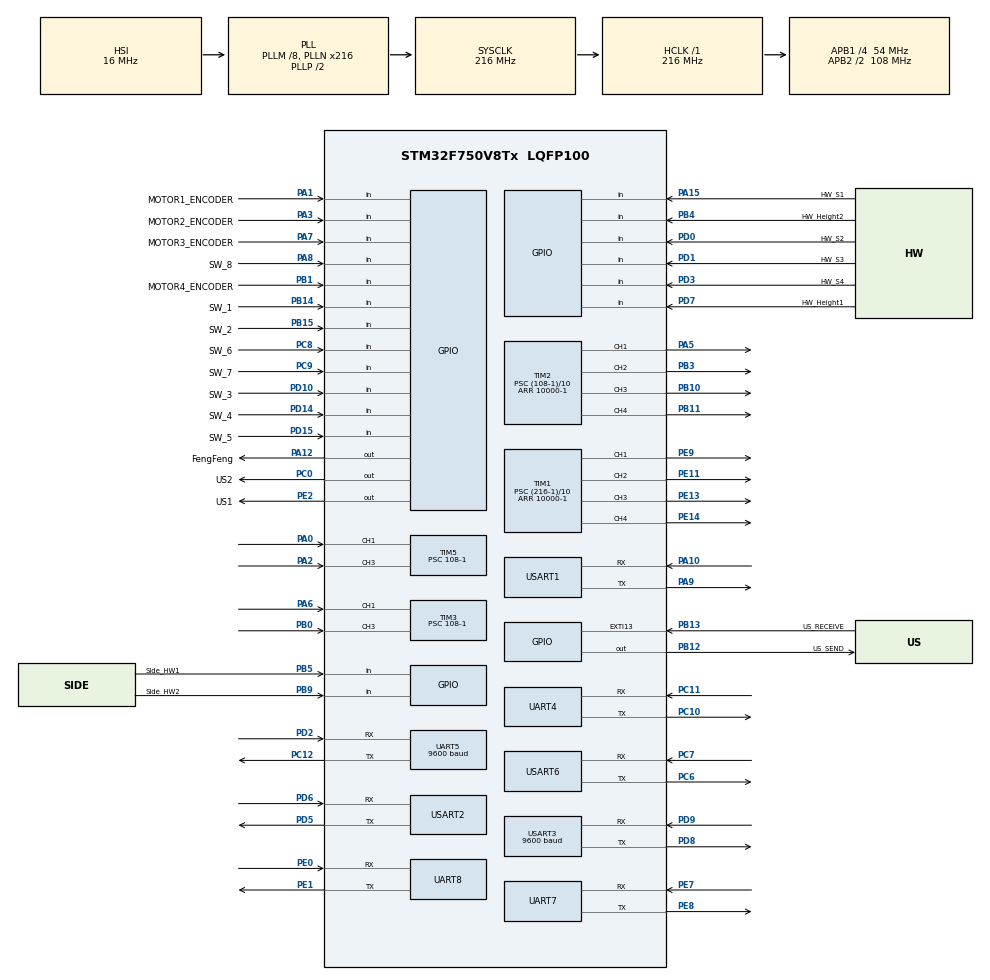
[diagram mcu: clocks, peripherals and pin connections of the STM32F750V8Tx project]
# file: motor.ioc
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FREERTOS.INCLUDE_vTaskDelayUntil=1
FREERTOS.Tasks01=defaultTask,-3,128,StartDefaultTask,Default,NULL,Dynamic,NULL,NULL;debugtask,0,128,Startdebug,As weak,NULL,Dynamic,NULL,NULL;chassis,3,512,chassis_task,As weak,NULL,Dynamic,NULL,NULL;track_task,2,128,track_scan,As weak,NULL,Dynamic,NULL,NULL;usmart_task,0,256,usmartscan,As weak,NULL,Dynamic,NULL,NULL;Bar_Task,-3,256,BarTextTask,As weak,NULL,Dynamic,NULL,NULL
Mcu.Family=STM32F7
Mcu.Name=STM32F750V8Tx
Mcu.Package=LQFP100
NVIC.EXTI15_10_IRQn=true\:6\:0\:true\:false\:true\:true\:true\:true\:true
NVIC.PriorityGroup=NVIC_PRIORITYGROUP_4
NVIC.TIM1_UP_TIM10_IRQn=true\:5\:0\:true\:false\:true\:false\:false\:true\:true
NVIC.TIM3_IRQn=true\:6\:0\:true\:false\:true\:true\:true\:true\:true
NVIC.TIM5_IRQn=true\:6\:0\:true\:false\:true\:true\:true\:true\:true
NVIC.TIM6_DAC_IRQn=true\:7\:0\:true\:false\:true\:true\:true\:true\:true
NVIC.TIM7_IRQn=true\:15\:0\:false\:false\:true\:false\:false\:true\:true
NVIC.TimeBase=TIM7_IRQn
NVIC.TimeBaseIP=TIM7
NVIC.UART4_IRQn=true\:6\:0\:true\:false\:true\:true\:true\:true\:true
NVIC.UART5_IRQn=true\:6\:0\:true\:false\:true\:true\:true\:true\:true
NVIC.USART1_IRQn=true\:6\:0\:true\:false\:true\:true\:true\:true\:true
NVIC.USART2_IRQn=true\:5\:0\:true\:false\:true\:true\:true\:true\:true
NVIC.USART3_IRQn=true\:5\:0\:true\:false\:true\:true\:true\:true\:true
NVIC.USART6_IRQn=true\:6\:0\:true\:false\:true\:true\:true\:true\:true
PA0/WKUP.Signal=S_TIM5_CH1
PA1.GPIO_Label=MOTOR1_ENCODER
PA1.Signal=GPIO_Input
PA10.Mode=Asynchronous
PA10.Signal=USART1_RX
PA12.GPIO_Label=FengFeng
PA12.GPIO_Speed=GPIO_SPEED_FREQ_MEDIUM
PA12.PinState=GPIO_PIN_RESET
PA12.Signal=GPIO_Output
PA13.Mode=Serial_Wire
PA13.Signal=SYS_JTMS-SWDIO
PA14.Mode=Serial_Wire
PA14.Signal=SYS_JTCK-SWCLK
PA15.GPIO_Label=HW_S1
PA15.GPIO_PuPd=GPIO_PULLUP
PA15.Signal=GPIO_Input
PA2.Signal=S_TIM5_CH3
PA3.GPIO_Label=MOTOR2_ENCODER
PA3.Signal=GPIO_Input
PA5.Signal=S_TIM2_CH1_ETR
PA6.Signal=S_TIM3_CH1
PA7.GPIO_Label=MOTOR3_ENCODER
PA7.Signal=GPIO_Input
PA8.GPIO_Label=SW_8
PA8.GPIO_PuPd=GPIO_PULLUP
PA8.Signal=GPIO_Input
PA9.Mode=Asynchronous
PA9.Signal=USART1_TX
PB0.Signal=S_TIM3_CH3
PB1.GPIO_Label=MOTOR4_ENCODER
PB1.Signal=GPIO_Input
PB10.Signal=S_TIM2_CH3
PB11.Signal=S_TIM2_CH4
PB12.GPIO_Label=US_SEND
PB12.Signal=GPIO_Output
PB13.GPIO_Label=US_RECEIVE
PB13.Signal=GPXTI13
PB14.GPIO_Label=SW_1
PB14.GPIO_PuPd=GPIO_PULLUP
PB14.Signal=GPIO_Input
PB15.GPIO_Label=SW_2
PB15.GPIO_PuPd=GPIO_PULLUP
PB15.Signal=GPIO_Input
PB3.Signal=S_TIM2_CH2
PB4.GPIO_Label=HW_Height2
PB4.GPIO_PuPd=GPIO_PULLUP
PB4.Signal=GPIO_Input
PB5.GPIO_Label=Side_HW1
PB5.GPIO_PuPd=GPIO_PULLUP
PB5.Signal=GPIO_Input
PB9.GPIO_Label=Side_HW2
PB9.GPIO_Mode=GPIO_MODE_INPUT
PB9.GPIO_PuPd=GPIO_PULLUP
PB9.Signal=GPIO_Input
PC0.GPIO_Label=US2
PC0.PinState=GPIO_PIN_SET
PC0.Signal=GPIO_Output
PC10.Mode=Asynchronous
PC10.Signal=UART4_TX
PC11.Mode=Asynchronous
PC11.Signal=UART4_RX
PC12.Mode=Asynchronous
PC12.Signal=UART5_TX
PC6.Mode=Asynchronous
PC6.Signal=USART6_TX
PC7.Mode=Asynchronous
PC7.Signal=USART6_RX
PC8.GPIO_Label=SW_6
PC8.GPIO_PuPd=GPIO_PULLUP
PC8.Signal=GPIO_Input
PC9.GPIO_Label=SW_7
PC9.GPIO_PuPd=GPIO_PULLUP
PC9.Signal=GPIO_Input
PD0.GPIO_Label=HW_S2
PD0.GPIO_PuPd=GPIO_PULLUP
PD0.Signal=GPIO_Input
PD1.GPIO_Label=HW_S3
PD1.GPIO_PuPd=GPIO_PULLUP
PD1.Signal=GPIO_Input
PD10.GPIO_Label=SW_3
PD10.GPIO_PuPd=GPIO_PULLUP
PD10.Signal=GPIO_Input
PD14.GPIO_Label=SW_4
PD14.GPIO_PuPd=GPIO_PULLUP
PD14.Signal=GPIO_Input
PD15.GPIO_Label=SW_5
PD15.GPIO_PuPd=GPIO_PULLUP
PD15.Signal=GPIO_Input
PD2.Mode=Asynchronous
PD2.Signal=UART5_RX
PD3.GPIO_Label=HW_S4
PD3.GPIO_PuPd=GPIO_PULLUP
PD3.Signal=GPIO_Input
PD5.Mode=Asynchronous
PD5.Signal=USART2_TX
PD6.Mode=Asynchronous
PD6.Signal=USART2_RX
PD7.GPIO_Label=HW_Height1
PD7.GPIO_PuPd=GPIO_PULLUP
PD7.Signal=GPIO_Input
PD8.Mode=Asynchronous
PD8.Signal=USART3_TX
PD9.Mode=Asynchronous
PD9.Signal=USART3_RX
PE0.Mode=Asynchronous
PE0.Signal=UART8_RX
PE1.Mode=Asynchronous
PE1.Signal=UART8_TX
PE11.Signal=S_TIM1_CH2
PE13.Signal=S_TIM1_CH3
PE14.Signal=S_TIM1_CH4
PE2.GPIO_Label=US1
PE2.PinState=GPIO_PIN_SET
PE2.Signal=GPIO_Output
PE7.Mode=Asynchronous
PE7.Signal=UART7_RX
PE8.Mode=Asynchronous
PE8.Signal=UART7_TX
PE9.Signal=S_TIM1_CH1
PH0/OSC_IN.Mode=HSE-External-Oscillator
PH0/OSC_IN.Signal=RCC_OSC_IN
PH1/OSC_OUT.Mode=HSE-External-Oscillator
PH1/OSC_OUT.Signal=RCC_OSC_OUT
ProjectManager.HeapSize=0x200
ProjectManager.StackSize=0x400
ProjectManager.TargetToolchain=MDK-ARM V5.32
RCC.AHBFreq_Value=216000000
RCC.APB1CLKDivider=RCC_HCLK_DIV4
RCC.APB1Freq_Value=54000000
RCC.APB1TimFreq_Value=108000000
RCC.APB2CLKDivider=RCC_HCLK_DIV2
RCC.APB2Freq_Value=108000000
RCC.APB2TimFreq_Value=216000000
RCC.CortexFreq_Value=216000000
RCC.HCLKFreq_Value=216000000
RCC.HSE_VALUE=25000000
RCC.HSI_VALUE=16000000
RCC.LSE_VALUE=32768
RCC.PLLM=8
RCC.PLLN=216
RCC.SYSCLKFreq_VALUE=216000000
RCC.SYSCLKSource=RCC_SYSCLKSOURCE_PLLCLK
RCC.USBFreq_Value=216000000
RCC.VCOOutputFreq_Value=432000000
SH.S_TIM1_CH1.0=TIM1_CH1,PWM Generation1 CH1
SH.S_TIM1_CH2.0=TIM1_CH2,PWM Generation2 CH2
SH.S_TIM1_CH3.0=TIM1_CH3,PWM Generation3 CH3
SH.S_TIM1_CH4.0=TIM1_CH4,PWM Generation4 CH4
SH.S_TIM2_CH1_ETR.0=TIM2_CH1,PWM Generation1 CH1
SH.S_TIM2_CH2.0=TIM2_CH2,PWM Generation2 CH2
SH.S_TIM2_CH3.0=TIM2_CH3,PWM Generation3 CH3
SH.S_TIM2_CH4.0=TIM2_CH4,PWM Generation4 CH4
SH.S_TIM3_CH1.0=TIM3_CH1,Input_Capture1_from_TI1
SH.S_TIM3_CH3.0=TIM3_CH3,Input_Capture3_from_TI3
SH.S_TIM5_CH1.0=TIM5_CH1,Input_Capture1_from_TI1
SH.S_TIM5_CH3.0=TIM5_CH3,Input_Capture3_from_TI3
TIM1.Channel-PWM\ Generation1\ CH1=TIM_CHANNEL_1
TIM1.Channel-PWM\ Generation2\ CH2=TIM_CHANNEL_2
TIM1.Channel-PWM\ Generation3\ CH3=TIM_CHANNEL_3
TIM1.Channel-PWM\ Generation4\ CH4=TIM_CHANNEL_4
TIM1.Period=10000-1
TIM1.Prescaler=(216-1)/10
TIM2.Channel-PWM\ Generation1\ CH1=TIM_CHANNEL_1
TIM2.Channel-PWM\ Generation2\ CH2=TIM_CHANNEL_2
TIM2.Channel-PWM\ Generation3\ CH3=TIM_CHANNEL_3
TIM2.Channel-PWM\ Generation4\ CH4=TIM_CHANNEL_4
TIM2.Period=10000-1
TIM2.Prescaler=(108-1)/10
TIM3.Channel-Input_Capture1_from_TI1=TIM_CHANNEL_1
TIM3.Channel-Input_Capture3_from_TI3=TIM_CHANNEL_3
TIM3.Period=10000-1
TIM3.Prescaler=108-1
TIM5.Channel-Input_Capture1_from_TI1=TIM_CHANNEL_1
TIM5.Channel-Input_Capture3_from_TI3=TIM_CHANNEL_3
TIM5.Period=10000-1
TIM5.Prescaler=108-1
TIM6.AutoReloadPreload=TIM_AUTORELOAD_PRELOAD_ENABLE
TIM6.Period=10000-1
TIM6.Prescaler=108-1
UART4.OverrunDisableParam=UART_ADVFEATURE_OVERRUN_DISABLE
UART5.BaudRate=9600
UART5.OverrunDisableParam=UART_ADVFEATURE_OVERRUN_DISABLE
UART7.OverrunDisableParam=UART_ADVFEATURE_OVERRUN_DISABLE
USART1.OverrunDisableParam=ADVFEATURE_OVERRUN_DISABLE
USART1.VirtualMode-Asynchronous=VM_ASYNC
USART2.OverrunDisableParam=ADVFEATURE_OVERRUN_DISABLE
USART2.VirtualMode-Asynchronous=VM_ASYNC
USART3.BaudRate=9600
USART3.OverrunDisableParam=ADVFEATURE_OVERRUN_DISABLE
USART3.VirtualMode-Asynchronous=VM_ASYNC
USART6.OverrunDisableParam=ADVFEATURE_OVERRUN_DISABLE
USART6.VirtualMode=VM_ASYNC
VP_FREERTOS_VS_CMSIS_V1.Mode=CMSIS_V1
VP_SYS_VS_tim7.Mode=TIM7
VP_TIM1_VS_ClockSourceINT.Mode=Internal
VP_TIM2_VS_ClockSourceINT.Mode=Internal
VP_TIM6_VS_ClockSourceINT.Mode=Enable_Timer
board=custom

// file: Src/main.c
/* USER CODE BEGIN Header */
/**
 ******************************************************************************
 * @file           : main.c
 * @brief          : Main program body
 ******************************************************************************
 * @attention
 *
 * <h2><center>&copy; Copyright (c) 2021 STMicroelectronics.
 * All rights reserved.</center></h2>
 *
 * This software component is licensed by ST under BSD 3-Clause license,
 * the "License"; You may not use this file except in compliance with the
 * License. You may obtain a copy of the License at:
 *                        opensource.org/licenses/BSD-3-Clause
 *
 ******************************************************************************
 */
/* USER CODE END Header */
#include "main.h"
#include "cmsis_os.h"
#include "tim.h"
#include "usart.h"
#include "gpio.h"

/* USER CODE BEGIN Includes */
#include "tim_control.h"
#include "uart_handle.h"
#include "motor.h"
#include "delay.h"
#include "usmart.h"
#include "chassis.h"
#include "track_bar_receive.h"
#include "imu_pid.h"
#include "atk_imu.h"

/* USER CODE END Includes */

void SystemClock_Config(void);
void MX_FREERTOS_Init(void);
/* USER CODE BEGIN PFP */
void USER_Init(void);
/* USER CODE END PFP */

int main(void)
{

  /* MCU Configuration--------------------------------------------------------*/

  /* Reset of all peripherals, Initializes the Flash interface and the Systick. */
  HAL_Init();

  /* Configure the system clock */
  SystemClock_Config();

  /* Initialize all configured peripherals */
  MX_GPIO_Init();
  MX_TIM1_Init();
  MX_TIM2_Init();
  MX_TIM3_Init();
  MX_TIM5_Init();
  MX_USART1_UART_Init();
  MX_USART2_UART_Init();
  MX_TIM6_Init();
  MX_UART4_Init();
  MX_UART5_Init();
  MX_UART7_Init();
  MX_UART8_Init();
  MX_USART3_UART_Init();
  MX_USART6_UART_Init();
  /* USER CODE BEGIN 2 */

  USER_Init();
  /* USER CODE END 2 */

  /* Call init function for freertos objects (in freertos.c) */
  MX_FREERTOS_Init();
  /* Start scheduler */
  osKernelStart();

  /* We should never get here as control is now taken by the scheduler */
  /* Infinite loop */
  while (1)
  {

  }
}

void SystemClock_Config(void)
{
  RCC_OscInitTypeDef RCC_OscInitStruct = {0};
  RCC_ClkInitTypeDef RCC_ClkInitStruct = {0};
  RCC_PeriphCLKInitTypeDef PeriphClkInitStruct = {0};

  /** Configure the main internal regulator output voltage
  */
  __HAL_RCC_PWR_CLK_ENABLE();
  __HAL_PWR_VOLTAGESCALING_CONFIG(PWR_REGULATOR_VOLTAGE_SCALE1);
  /** Initializes the RCC Oscillators according to the specified parameters
  * in the RCC_OscInitTypeDef structure.
  */
  RCC_OscInitStruct.OscillatorType = RCC_OSCILLATORTYPE_HSI;
  RCC_OscInitStruct.HSIState = RCC_HSI_ON;
  RCC_OscInitStruct.HSICalibrationValue = RCC_HSICALIBRATION_DEFAULT;
  RCC_OscInitStruct.PLL.PLLState = RCC_PLL_ON;
  RCC_OscInitStruct.PLL.PLLSource = RCC_PLLSOURCE_HSI;
  RCC_OscInitStruct.PLL.PLLM = 8;
  RCC_OscInitStruct.PLL.PLLN = 216;
  RCC_OscInitStruct.PLL.PLLP = RCC_PLLP_DIV2;
  RCC_OscInitStruct.PLL.PLLQ = 2;
  if (HAL_RCC_OscConfig(&RCC_OscInitStruct) != HAL_OK)
  {
    Error_Handler();
  }
  /** Activate the Over-Drive mode
  */
  if (HAL_PWREx_EnableOverDrive() != HAL_OK)
  {
    Error_Handler();
  }
  /** Initializes the CPU, AHB and APB buses clocks
  */
  RCC_ClkInitStruct.ClockType = RCC_CLOCKTYPE_HCLK|RCC_CLOCKTYPE_SYSCLK
                              |RCC_CLOCKTYPE_PCLK1|RCC_CLOCKTYPE_PCLK2;
  RCC_ClkInitStruct.SYSCLKSource = RCC_SYSCLKSOURCE_PLLCLK;
  RCC_ClkInitStruct.AHBCLKDivider = RCC_SYSCLK_DIV1;
  RCC_ClkInitStruct.APB1CLKDivider = RCC_HCLK_DIV4;
  RCC_ClkInitStruct.APB2CLKDivider = RCC_HCLK_DIV2;

  if (HAL_RCC_ClockConfig(&RCC_ClkInitStruct, FLASH_LATENCY_7) != HAL_OK)
  {
    Error_Handler();
  }
  PeriphClkInitStruct.PeriphClockSelection = RCC_PERIPHCLK_USART1|RCC_PERIPHCLK_USART2
                              |RCC_PERIPHCLK_USART3|RCC_PERIPHCLK_USART6
                              |RCC_PERIPHCLK_UART4|RCC_PERIPHCLK_UART5
                              |RCC_PERIPHCLK_UART7|RCC_PERIPHCLK_UART8;
  PeriphClkInitStruct.Usart1ClockSelection = RCC_USART1CLKSOURCE_PCLK2;
  PeriphClkInitStruct.Usart2ClockSelection = RCC_USART2CLKSOURCE_PCLK1;
  PeriphClkInitStruct.Usart3ClockSelection = RCC_USART3CLKSOURCE_PCLK1;
  PeriphClkInitStruct.Uart4ClockSelection = RCC_UART4CLKSOURCE_PCLK1;
  PeriphClkInitStruct.Uart5ClockSelection = RCC_UART5CLKSOURCE_PCLK1;
  PeriphClkInitStruct.Usart6ClockSelection = RCC_USART6CLKSOURCE_PCLK2;
  PeriphClkInitStruct.Uart7ClockSelection = RCC_UART7CLKSOURCE_PCLK1;
  PeriphClkInitStruct.Uart8ClockSelection = RCC_UART8CLKSOURCE_PCLK1;
  if (HAL_RCCEx_PeriphCLKConfig(&PeriphClkInitStruct) != HAL_OK)
  {
    Error_Handler();
  }
}

/* USER CODE BEGIN 4 */
void USER_Init(void)
{
  track_bar_init(); //循迹版的使能
  //开启外设用到的串口，后续移入到对应的函数
  __HAL_UART_ENABLE_IT(&huart1, UART_IT_RXNE); //调试信息
  __HAL_UART_ENABLE_IT(&huart3, UART_IT_RXNE); //二维码的接收串口
  __HAL_UART_ENABLE_IT(&huart4, UART_IT_RXNE); // openmv接收
  __HAL_UART_ENABLE_IT(&huart5, UART_IT_RXNE); //舵控的接收
  HAL_TIM_Base_Start_IT(&htim6);               //开启中断
  ATK_IMU_Init();                              //陀螺仪初始化
  delay_init(&htim6, up_count);                //使能delay
  usmart_dev.init(216);                        //开启USMART
  Motor_PID_Init();                            //赋值电机PID
  Motor_PID1_Init();                           //赋值电机3的PID
  set_chassis_status(1);                       //底盘使能
  motor_init();                                //电机变量的赋值
  //队列初始化
  printf_init();
  //关闭循迹版
  track_status(1, 0);
  track_status(2, 0);
}

/* USER CODE END 4 */

void HAL_TIM_PeriodElapsedCallback(TIM_HandleTypeDef *htim)
{
  /* USER CODE BEGIN Callback 0 */
  MY_PeriodElapsedCallback(htim);
  /* USER CODE END Callback 0 */
  if (htim->Instance == TIM7) {
    HAL_IncTick();
  }
}

void Error_Handler(void)
{
  __disable_irq();
  while (1)
  {
  }
}

/************************ (C) COPYRIGHT STMicroelectronics *****END OF FILE****/

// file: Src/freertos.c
/* USER CODE BEGIN Header */
/**
  ******************************************************************************
  * File Name          : freertos.c
  * Description        : Code for freertos applications
  ******************************************************************************
  * @attention
  *
  * <h2><center>&copy; Copyright (c) 2021 STMicroelectronics.
  * All rights reserved.</center></h2>
  *
  * This software component is licensed by ST under Ultimate Liberty license
  * SLA0044, the "License"; You may not use this file except in compliance with
  * the License. You may obtain a copy of the License at:
  *                             www.st.com/SLA0044
  *
  ******************************************************************************
  */
/* USER CODE END Header */

#include "FreeRTOS.h"
#include "task.h"
#include "main.h"
#include "cmsis_os.h"

/* USER CODE BEGIN Includes */
    #include "usmart.h"
/* USER CODE END Includes */

osThreadId defaultTaskHandle;
osThreadId debugtaskHandle;
osThreadId chassisHandle;
osThreadId track_taskHandle;
osThreadId usmart_taskHandle;
osThreadId Bar_TaskHandle;

void StartDefaultTask(void const * argument);
void Startdebug(void const * argument);
void chassis_task(void const * argument);
void track_scan(void const * argument);
void usmartscan(void const * argument);
void BarTextTask(void const * argument);

void MX_FREERTOS_Init(void); /* (MISRA C 2004 rule 8.1) */

/* GetIdleTaskMemory prototype (linked to static allocation support) */
void vApplicationGetIdleTaskMemory( StaticTask_t **ppxIdleTaskTCBBuffer, StackType_t **ppxIdleTaskStackBuffer, uint32_t *pulIdleTaskStackSize );

/* USER CODE BEGIN GET_IDLE_TASK_MEMORY */
static StaticTask_t xIdleTaskTCBBuffer;
static StackType_t xIdleStack[configMINIMAL_STACK_SIZE];

void vApplicationGetIdleTaskMemory( StaticTask_t **ppxIdleTaskTCBBuffer, StackType_t **ppxIdleTaskStackBuffer, uint32_t *pulIdleTaskStackSize )
{
  *ppxIdleTaskTCBBuffer = &xIdleTaskTCBBuffer;
  *ppxIdleTaskStackBuffer = &xIdleStack[0];
  *pulIdleTaskStackSize = configMINIMAL_STACK_SIZE;
  /* place for user code */
}
/* USER CODE END GET_IDLE_TASK_MEMORY */

void MX_FREERTOS_Init(void) {

  /* Create the thread(s) */
  /* definition and creation of defaultTask */
  osThreadDef(defaultTask, StartDefaultTask, osPriorityIdle, 0, 128);
  defaultTaskHandle = osThreadCreate(osThread(defaultTask), NULL);

  /* definition and creation of debugtask */
  osThreadDef(debugtask, Startdebug, osPriorityNormal, 0, 128);
  debugtaskHandle = osThreadCreate(osThread(debugtask), NULL);

  /* definition and creation of chassis */
  osThreadDef(chassis, chassis_task, osPriorityRealtime, 0, 512);
  chassisHandle = osThreadCreate(osThread(chassis), NULL);

  /* definition and creation of track_task */
  osThreadDef(track_task, track_scan, osPriorityHigh, 0, 128);
  track_taskHandle = osThreadCreate(osThread(track_task), NULL);

  /* definition and creation of usmart_task */
  osThreadDef(usmart_task, usmartscan, osPriorityNormal, 0, 256);
  usmart_taskHandle = osThreadCreate(osThread(usmart_task), NULL);

  /* definition and creation of Bar_Task */
  osThreadDef(Bar_Task, BarTextTask, osPriorityIdle, 0, 256);
  Bar_TaskHandle = osThreadCreate(osThread(Bar_Task), NULL);

}

void StartDefaultTask(void const * argument)
{
  for(;;)
  {
    osDelay(1);
  }
}

__weak void Startdebug(void const * argument)
{
  for(;;)
  {
    osDelay(1);
  }
}

__weak void chassis_task(void const * argument)
{
  for(;;)
  {
    osDelay(1);
  }
}

__weak void track_scan(void const * argument)
{
  for(;;)
  {
    osDelay(1);
  }
}

__weak void usmartscan(void const * argument)
{
  for(;;)
  {
    osDelay(1);
  }
}

__weak void BarTextTask(void const * argument)
{
  for(;;)
  {
    osDelay(1);
  }
}

/************************ (C) COPYRIGHT STMicroelectronics *****END OF FILE****/
